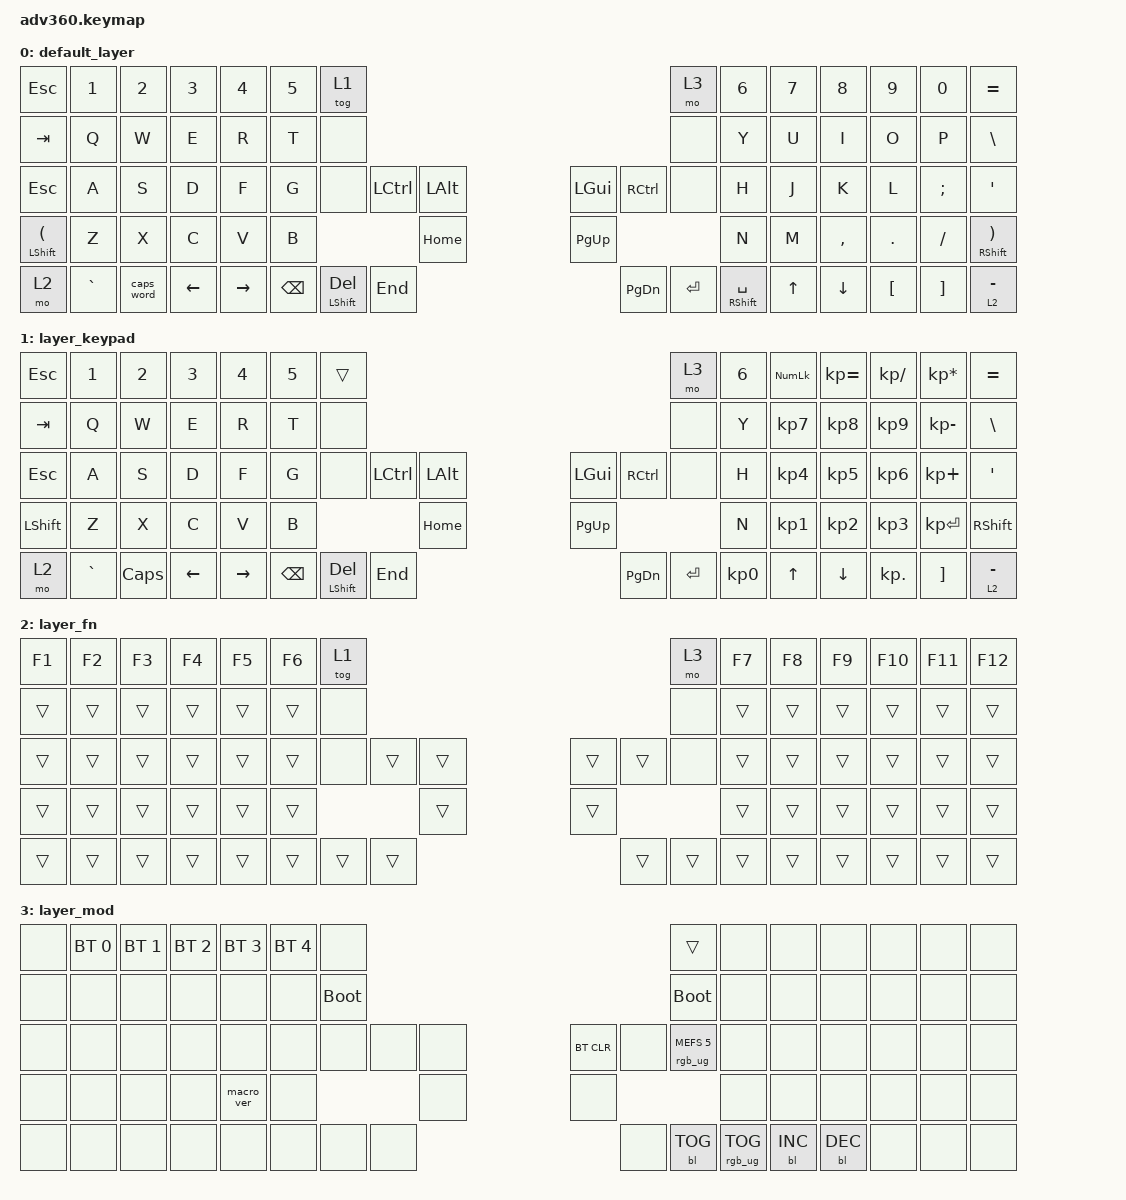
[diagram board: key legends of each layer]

/*
 * Copyright (c) 2020 The ZMK Contributors
 *
 * SPDX-License-Identifier: MIT
 */


/* THIS FILE WAS GENERATED!
 *
 * This file was generated automatically. You may or may not want to
 * edit it directly.
 */

#include <behaviors.dtsi>
#include <dt-bindings/zmk/keys.h>
#include <dt-bindings/zmk/bt.h>
#include <dt-bindings/zmk/rgb.h>
#include <dt-bindings/zmk/backlight.h>

/ {
  behaviors {
    #include "macros.dtsi"
    #include "version.dtsi"

    hm: homerow_mods {
        compatible = "zmk,behavior-hold-tap";
        label = "HOMEROW_MODS";
        #binding-cells = <2>;
        tapping-term-ms = <200>;
        quick_tap_ms = <175>;
        flavor = "tap-preferred";
        bindings = <&kp>, <&kp>;
    };
    pht: positional_hold_tap {
            compatible = "zmk,behavior-hold-tap";
            #binding-cells = <2>;
            flavor = "hold-preferred";
            tapping-term-ms = <100>;
            bindings = <&kp>, <&kp>;
        };
    lh_pht: left_positional_hold_tap {
            compatible = "zmk,behavior-hold-tap";
            #binding-cells = <2>;
            flavor = "tap-unless-interrupted";
            tapping-term-ms = <100>;                        // <---[[produces tap if held longer than tapping-term-ms]]
            quick-tap-ms = <200>;
            bindings = <&kp>, <&kp>;
        };
  };

    keymap {
        compatible = "zmk,keymap";


        default_layer {
            bindings = <
        &kp ESC     &kp N1      &kp N2    &kp N3     &kp N4  &kp N5              &tog 1                                                                  &mo 3  &kp N6  &kp N7     &kp N8    &kp N9    &kp N0         &kp EQUAL
          &kp TAB      &kp Q       &kp W     &kp E      &kp R   &kp T               &none                                                                  &none   &kp Y   &kp U      &kp I     &kp O     &kp P          &kp BSLH
          &kp ESC      &kp A       &kp S     &kp D      &kp F   &kp G               &none  &kp LCTRL  &kp LALT                   &kp LGUI  &kp RCTRL       &none   &kp H   &kp J      &kp K     &kp L  &kp SEMI           &kp SQT
 &pht LSHIFT LEFT_PARENTHESIS      &kp Z       &kp X     &kp C      &kp V   &kp B                                 &kp HOME                  &kp PG_UP                          &kp N   &kp M  &kp COMMA   &kp DOT  &kp FSLH  &pht RSHIFT RIGHT_PARENTHESIS
            &mo 2  &kp GRAVE  &caps_word  &kp LEFT  &kp RIGHT                    &kp BSPC  &lh_pht LSHIFT DEL   &kp END                  &kp PG_DN  &kp ENTER  &lh_pht RSHIFT SPACE          &kp UP   &kp DOWN  &kp LBKT  &kp RBKT             &lt 2 MINUS
            >;
        };

        layer_keypad {
            bindings = <
 &kp ESC     &kp N1    &kp N2    &kp N3     &kp N4  &kp N5              &trans                                                                 &mo 3  &kp N6  &kp KP_NUM  &kp KP_EQUAL  &kp KP_DIVIDE  &kp KP_MULTIPLY  &kp EQUAL
   &kp TAB      &kp Q     &kp W     &kp E      &kp R   &kp T               &none                                                                 &none   &kp Y   &kp KP_N7     &kp KP_N8      &kp KP_N9     &kp KP_MINUS   &kp BSLH
   &kp ESC      &kp A     &kp S     &kp D      &kp F   &kp G               &none  &kp LCTRL  &kp LALT                   &kp LGUI  &kp RCTRL      &none   &kp H   &kp KP_N4     &kp KP_N5      &kp KP_N6      &kp KP_PLUS    &kp SQT
 &kp LSHFT      &kp Z     &kp X     &kp C      &kp V   &kp B                                 &kp HOME                  &kp PG_UP                         &kp N   &kp KP_N1     &kp KP_N2      &kp KP_N3     &kp KP_ENTER  &kp RSHFT
     &mo 2  &kp GRAVE  &kp CAPS  &kp LEFT  &kp RIGHT                    &kp BSPC    &lh_pht LSHIFT DEL   &kp END                  &kp PG_DN  &kp ENTER  &kp KP_N0              &kp UP      &kp DOWN     &kp KP_DOT         &kp RBKT      &lt 2 MINUS
            >;
        };

        layer_fn {
            bindings = <
 &kp F1  &kp F2  &kp F3  &kp F4  &kp F5  &kp F6            &tog 1                                                   &mo 3  &kp F7  &kp F8  &kp F9  &kp F10  &kp F11  &kp F12
 &trans  &trans  &trans  &trans  &trans  &trans             &none                                                   &none  &trans  &trans  &trans   &trans   &trans   &trans
 &trans  &trans  &trans  &trans  &trans  &trans             &none  &trans  &trans                  &trans  &trans   &none  &trans  &trans  &trans   &trans   &trans   &trans
 &trans  &trans  &trans  &trans  &trans  &trans                            &trans                  &trans                  &trans  &trans  &trans   &trans   &trans   &trans
 &trans  &trans  &trans  &trans  &trans                    &trans  &trans  &trans                  &trans  &trans  &trans          &trans  &trans   &trans   &trans   &trans
            >;
        };

        layer_mod {
            bindings = <
  &none  &bt BT_SEL 0  &bt BT_SEL 1  &bt BT_SEL 2  &bt BT_SEL 3  &bt BT_SEL 4                  &none                                                                          &trans   &none       &none       &none   &none   &none   &none
  &none         &none         &none         &none         &none         &none            &bootloader                                                                     &bootloader   &none       &none       &none   &none   &none   &none
  &none         &none         &none         &none         &none         &none                  &none   &none   &none                  &bt BT_CLR       &none  &rgb_ug RGB_MEFS_CMD 5   &none       &none       &none   &none   &none   &none
  &none         &none         &none         &none    &macro_ver         &none                                  &none                       &none                                       &none       &none       &none   &none   &none   &none
  &none         &none         &none         &none         &none                                &none   &none   &none                       &none  &bl BL_TOG         &rgb_ug RGB_TOG          &bl BL_INC  &bl BL_DEC   &none   &none   &none
            >;
        };

    };
};
